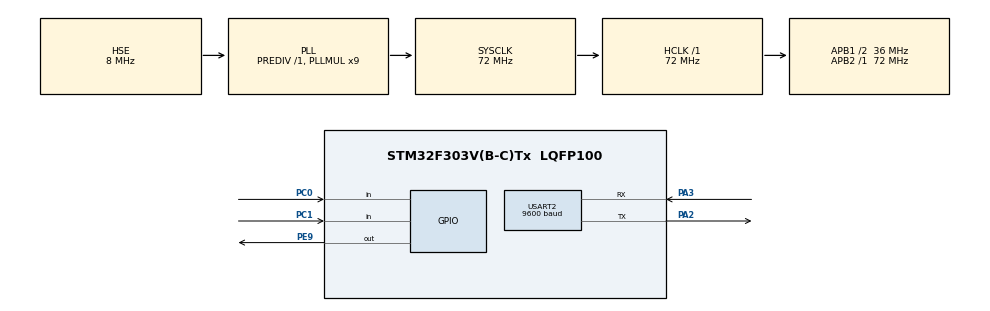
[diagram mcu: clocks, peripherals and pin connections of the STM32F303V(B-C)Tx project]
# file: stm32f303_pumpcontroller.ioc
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Mcu.Family=STM32F3
Mcu.Name=STM32F303V(B-C)Tx
Mcu.Package=LQFP100
NVIC.PriorityGroup=NVIC_PRIORITYGROUP_4
NVIC.USART2_IRQn=true\:0\:0\:false\:false\:true\:true\:true\:true
PA13.Mode=Serial_Wire
PA13.Signal=SYS_JTMS-SWDIO
PA14.Mode=Serial_Wire
PA14.Signal=SYS_JTCK-SWCLK
PA2.Mode=Asynchronous
PA2.Signal=USART2_TX
PA3.Mode=Asynchronous
PA3.Signal=USART2_RX
PC0.Signal=GPIO_Input
PC1.Signal=GPIO_Input
PE9.Signal=GPIO_Output
PF0-OSC_IN.Mode=HSE-External-Oscillator
PF0-OSC_IN.Signal=RCC_OSC_IN
PF1-OSC_OUT.Mode=HSE-External-Oscillator
PF1-OSC_OUT.Signal=RCC_OSC_OUT
ProjectManager.HeapSize=0x200
ProjectManager.StackSize=0x400
ProjectManager.TargetToolchain=STM32CubeIDE
RCC.AHBFreq_Value=72000000
RCC.APB1CLKDivider=RCC_HCLK_DIV2
RCC.APB1Freq_Value=36000000
RCC.APB1TimFreq_Value=72000000
RCC.APB2Freq_Value=72000000
RCC.APB2TimFreq_Value=72000000
RCC.CortexFreq_Value=72000000
RCC.HCLKFreq_Value=72000000
RCC.HSE_VALUE=8000000
RCC.HSI_VALUE=8000000
RCC.LSE_VALUE=32768
RCC.PLLMUL=RCC_PLL_MUL9
RCC.PLLSourceVirtual=RCC_PLLSOURCE_HSE
RCC.SYSCLKFreq_VALUE=72000000
RCC.SYSCLKSourceVirtual=RCC_SYSCLKSOURCE_PLLCLK
RCC.USBFreq_Value=72000000
USART2.BaudRate=9600
USART2.VirtualMode-Asynchronous=VM_ASYNC
board=custom

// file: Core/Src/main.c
/* USER CODE BEGIN Header */
/**
  ******************************************************************************
  * @file           : main.c
  * @brief          : Main program body
  ******************************************************************************
  * @attention
  *
  * Copyright (c) 2025 STMicroelectronics.
  * All rights reserved.
  *
  * This software is licensed under terms that can be found in the LICENSE file
  * in the root directory of this software component.
  * If no LICENSE file comes with this software, it is provided AS-IS.
  *
  ******************************************************************************
  */
/* USER CODE END Header */
#include "main.h"

/* USER CODE BEGIN Includes */
#include <string.h>
/* USER CODE END Includes */

UART_HandleTypeDef huart2;

/* USER CODE BEGIN PV */
//uint8_t rxBuffer[12] = {0};
//char receivedData[5];
//char txData[10];
//uint8_t Txnum = 22;

uint8_t rxBuffer[3];
volatile uint8_t motorState = 0;
/* USER CODE END PV */

void SystemClock_Config(void);
static void MX_GPIO_Init(void);
static void MX_USART2_UART_Init(void);

/* USER CODE BEGIN 0 */
// UART Receive Interrupt Callback
void HAL_UART_RxCpltCallback(UART_HandleTypeDef *huart)
{
    if (huart->Instance == USART2)
    {
    	rxBuffer[2] = '\0'; // null-termination

        if (strcmp((char *)rxBuffer, "11") == 0)
        {
            HAL_GPIO_WritePin(GPIOE, GPIO_PIN_9, GPIO_PIN_SET);
        }
        else if (strcmp ((char *)rxBuffer, "00") == 0)
        {
            HAL_GPIO_WritePin(GPIOE, GPIO_PIN_9, GPIO_PIN_RESET);
        }
        HAL_UART_Receive_IT(&huart2, rxBuffer, 2);
    }
}
/* USER CODE END 0 */

int main(void)
{

  /* MCU Configuration--------------------------------------------------------*/

  /* Reset of all peripherals, Initializes the Flash interface and the Systick. */
  HAL_Init();

  /* Configure the system clock */
  SystemClock_Config();

  /* Initialize all configured peripherals */
  MX_GPIO_Init();
  MX_USART2_UART_Init();
  /* USER CODE BEGIN 2 */
  HAL_GPIO_WritePin(GPIOE, GPIO_PIN_9, GPIO_PIN_RESET);
  HAL_UART_Receive_IT(&huart2, rxBuffer, 2);
  /* USER CODE END 2 */

  /* Infinite loop */
  while (1)
  {

    /* USER CODE BEGIN 3 */

	  //Read PC0 to check status motor changed
	  uint8_t currentstate = HAL_GPIO_ReadPin(GPIOC, GPIO_PIN_0);

	  if (currentstate != motorState)
	  {
		  motorState = currentstate;
		  char msg[20];
		  sprintf(msg, "motor state: %d\r\n", motorState);
		  HAL_UART_Transmit(&huart2, (uint8_t *)msg, strlen(msg), HAL_MAX_DELAY);
	  }
	  HAL_Delay(10);

//	  HAL_UART_Receive(&huart2, (uint8_t*)receivedData, 4, HAL_MAX_DELAY);
//	  receivedData[4] = '\0';
//	  if (strcmp(receivedData, "1122") == 0) {
//		  HAL_GPIO_WritePin(GPIOE, GPIO_PIN_9, GPIO_PIN_SET);
//	  } else if (strcmp(receivedData, "0000") == 0) {
//		  HAL_GPIO_WritePin(GPIOE, GPIO_PIN_9, GPIO_PIN_RESET);
//	  }
//	  sprintf(txData, "%d", Txnum);
//	  HAL_UART_Transmit(&huart2, (uint8_t*)txData, strlen(txData), 100);
//	  HAL_Delay(100);
  }
  /* USER CODE END 3 */
}

void SystemClock_Config(void)
{
  RCC_OscInitTypeDef RCC_OscInitStruct = {0};
  RCC_ClkInitTypeDef RCC_ClkInitStruct = {0};
  RCC_PeriphCLKInitTypeDef PeriphClkInit = {0};

  /** Initializes the RCC Oscillators according to the specified parameters
  * in the RCC_OscInitTypeDef structure.
  */
  RCC_OscInitStruct.OscillatorType = RCC_OSCILLATORTYPE_HSE;
  RCC_OscInitStruct.HSEState = RCC_HSE_ON;
  RCC_OscInitStruct.HSEPredivValue = RCC_HSE_PREDIV_DIV1;
  RCC_OscInitStruct.HSIState = RCC_HSI_ON;
  RCC_OscInitStruct.PLL.PLLState = RCC_PLL_ON;
  RCC_OscInitStruct.PLL.PLLSource = RCC_PLLSOURCE_HSE;
  RCC_OscInitStruct.PLL.PLLMUL = RCC_PLL_MUL9;
  if (HAL_RCC_OscConfig(&RCC_OscInitStruct) != HAL_OK)
  {
    Error_Handler();
  }

  /** Initializes the CPU, AHB and APB buses clocks
  */
  RCC_ClkInitStruct.ClockType = RCC_CLOCKTYPE_HCLK|RCC_CLOCKTYPE_SYSCLK
                              |RCC_CLOCKTYPE_PCLK1|RCC_CLOCKTYPE_PCLK2;
  RCC_ClkInitStruct.SYSCLKSource = RCC_SYSCLKSOURCE_PLLCLK;
  RCC_ClkInitStruct.AHBCLKDivider = RCC_SYSCLK_DIV1;
  RCC_ClkInitStruct.APB1CLKDivider = RCC_HCLK_DIV2;
  RCC_ClkInitStruct.APB2CLKDivider = RCC_HCLK_DIV1;

  if (HAL_RCC_ClockConfig(&RCC_ClkInitStruct, FLASH_LATENCY_2) != HAL_OK)
  {
    Error_Handler();
  }
  PeriphClkInit.PeriphClockSelection = RCC_PERIPHCLK_USART2;
  PeriphClkInit.Usart2ClockSelection = RCC_USART2CLKSOURCE_PCLK1;
  if (HAL_RCCEx_PeriphCLKConfig(&PeriphClkInit) != HAL_OK)
  {
    Error_Handler();
  }
}

static void MX_USART2_UART_Init(void)
{

  huart2.Instance = USART2;
  huart2.Init.BaudRate = 9600;
  huart2.Init.WordLength = UART_WORDLENGTH_8B;
  huart2.Init.StopBits = UART_STOPBITS_1;
  huart2.Init.Parity = UART_PARITY_NONE;
  huart2.Init.Mode = UART_MODE_TX_RX;
  huart2.Init.HwFlowCtl = UART_HWCONTROL_NONE;
  huart2.Init.OverSampling = UART_OVERSAMPLING_16;
  huart2.Init.OneBitSampling = UART_ONE_BIT_SAMPLE_DISABLE;
  huart2.AdvancedInit.AdvFeatureInit = UART_ADVFEATURE_NO_INIT;
  if (HAL_UART_Init(&huart2) != HAL_OK)
  {
    Error_Handler();
  }

}

static void MX_GPIO_Init(void)
{
  GPIO_InitTypeDef GPIO_InitStruct = {0};

  /* GPIO Ports Clock Enable */
  __HAL_RCC_GPIOF_CLK_ENABLE();
  __HAL_RCC_GPIOC_CLK_ENABLE();
  __HAL_RCC_GPIOA_CLK_ENABLE();
  __HAL_RCC_GPIOE_CLK_ENABLE();

  /*Configure GPIO pin Output Level */
  HAL_GPIO_WritePin(GPIOE, GPIO_PIN_9, GPIO_PIN_RESET);

  /*Configure GPIO pins : PC0 PC1 */
  GPIO_InitStruct.Pin = GPIO_PIN_0|GPIO_PIN_1;
  GPIO_InitStruct.Mode = GPIO_MODE_INPUT;
  GPIO_InitStruct.Pull = GPIO_NOPULL;
  HAL_GPIO_Init(GPIOC, &GPIO_InitStruct);

  /*Configure GPIO pin : PE9 */
  GPIO_InitStruct.Pin = GPIO_PIN_9;
  GPIO_InitStruct.Mode = GPIO_MODE_OUTPUT_PP;
  GPIO_InitStruct.Pull = GPIO_NOPULL;
  GPIO_InitStruct.Speed = GPIO_SPEED_FREQ_LOW;
  HAL_GPIO_Init(GPIOE, &GPIO_InitStruct);

}

void Error_Handler(void)
{
  __disable_irq();
  while (1)
  {
  }
}
